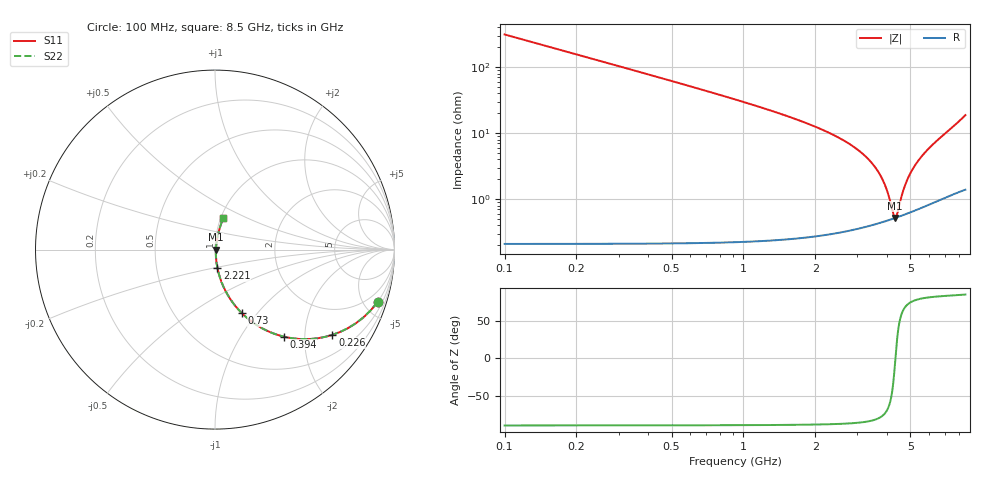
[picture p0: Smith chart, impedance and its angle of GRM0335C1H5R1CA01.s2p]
!Murata Part Number: GRM0335C1H5R1CA01
!These Parameters are Measured in Series Mode Connection
!Data Generated on Mar 30, 2021
!  o--ll--o
!Port1  Port2
!  o------o
!Operation Temp=25[degC], DC Bias Voltage=0[V]
!Freq. Start=100[MHz] Stop=9[GHz] 401[Steps]
# Hz S RI R 50
!Freq.(Hz) S11(Real) S11(Imag) S21(Real) S21(Imag) S12(Real) S12(Imag) S22(Real) S22(Imag)
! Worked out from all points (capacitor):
!   401 points, 100 MHz to 8.5 GHz, reference 50 ohm
!   read as one part in series: C = 5.1 pF near 142 MHz
!   lowest |Z| = 521 mohm at 4.321 GHz (marker M1)
!   series resonance near 4.329 GHz, so ESL is about 270 pH
!   S11 on the Smith chart (normalised r, x): 100 MHz: 1.00, -6.24; 226 MHz: 1.00, -2.75; 394 MHz: 1.00, -1.57; 730 MHz: 1.00, -0.83; 2.221 GHz: 1.01, -0.21; 8.5 GHz: 1.03, +0.37
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1e8  0.9066 -0.2906  0.0934 0.2906  0.0934 0.2906  0.9066 -0.2906
2.26e8  0.6546 -0.4747  0.3454 0.4747  0.3454 0.4747  0.6546 -0.4747
3.94e8  0.3822 -0.4846  0.6178 0.4846  0.6178 0.4846  0.3822 -0.4846
5.41e8  0.2452 -0.4283  0.7548 0.4283  0.7548 0.4283  0.2452 -0.4283
7.3e8  0.1491 -0.3535  0.8509 0.3535  0.8509 0.3535  0.1491 -0.3535
1.045e9  0.0758 -0.2607  0.9242 0.2607  0.9242 0.2607  0.0758 -0.2607
1.507e9  0.035 -0.1771  0.965 0.1771  0.965 0.1771  0.035 -0.1771
2.221e9  0.0139 -0.1043  0.9861 0.1043  0.9861 0.1043  0.0139 -0.1043
2.914e9  0.00713 -0.0604  0.9929 0.0604  0.9929 0.0604  0.00713 -0.0604
3.397e9  0.00534 -0.0371  0.9947 0.0371  0.9947 0.0371  0.00534 -0.0371
3.754e9  0.00487 -0.0219  0.9951 0.0219  0.9951 0.0219  0.00487 -0.0219
3.985e9  0.00486 -0.0128  0.9951 0.0128  0.9951 0.0128  0.00486 -0.0128
4.237e9  0.00506 -0.00337  0.9949 0.00337  0.9949 0.00337  0.00506 -0.00337
4.3e9  0.00514 -0.00106  0.9949 0.00106  0.9949 0.00106  0.00514 -0.00106
4.321e9  0.00517 -0.000293  0.9948 0.000293  0.9948 0.000293  0.00517 -0.000293
4.405e9  0.00531 0.00275  0.9947 -0.00275  0.9947 -0.00275  0.00531 0.00275
4.678e9  0.00589 0.0124  0.9941 -0.0124  0.9941 -0.0124  0.00589 0.0124
4.888e9  0.00647 0.0197  0.9935 -0.0197  0.9935 -0.0197  0.00647 0.0197
5.245e9  0.00774 0.0319  0.9923 -0.0319  0.9923 -0.0319  0.00774 0.0319
5.707e9  0.00991 0.0477  0.9901 -0.0477  0.9901 -0.0477  0.00991 0.0477
7.114e9  0.021 0.1006  0.979 -0.1006  0.979 -0.1006  0.021 0.1006
8.5e9  0.0463 0.1763  0.9537 -0.1763  0.9537 -0.1763  0.0463 0.1763
